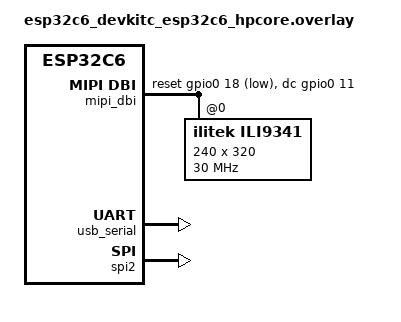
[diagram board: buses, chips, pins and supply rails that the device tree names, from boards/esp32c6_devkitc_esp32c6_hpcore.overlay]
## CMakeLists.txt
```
# Copyright (c) 2026 Yuancheng Li
# SPDX-License-Identifier: Apache-2.0

cmake_minimum_required(VERSION 3.20.0)

find_package(Zephyr REQUIRED HINTS $ENV{ZEPHYR_BASE})
project(esp32c6_boids_sim LANGUAGES C CXX)

target_sources(app PRIVATE
    src/main.cpp
    src/core/rendering/rendering.cpp
    src/features/boids/classes/flock.cpp
    src/features/boids/services/boids_renderer.cpp
    src/features/boids/store/render_snapshot_store.cpp
    src/features/scene/scene.cpp
    src/features/scene/bounds_outline.cpp
    src/features/rendering/rendering.cpp
    src/features/simulation/simulation.cpp
    src/features/profiling/profiling.cpp
)

target_include_directories(app PRIVATE
    src
    src/config
    libs/Jet/src
)

file(GLOB JET_SOURCES CONFIGURE_DEPENDS "libs/Jet/src/*.cpp")
list(FILTER JET_SOURCES EXCLUDE REGEX "/(Example|Sample)\\.cpp$")
target_sources(app PRIVATE ${JET_SOURCES})
```

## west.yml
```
# Copyright (c) 2026 Yuancheng Li
# SPDX-License-Identifier: Apache-2.0

manifest:
  remotes:
    - name: zephyrproject-rtos
      url-base: https://github.com/zephyrproject-rtos

  projects:
    - name: zephyr
      remote: zephyrproject-rtos
      revision: main
      import: true

  self:
    path: app
```

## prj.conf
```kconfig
# Copyright (c) 2026 Yuancheng Li
# SPDX-License-Identifier: Apache-2.0

CONFIG_CPP=y
CONFIG_STD_CPP20=y
CONFIG_GLIBCXX_LIBCPP=y
CONFIG_SPI=y
CONFIG_DISPLAY=y

CONFIG_CONSOLE=y
CONFIG_UART_CONSOLE=y
CONFIG_PRINTK=y
CONFIG_LOG=y
CONFIG_LOG_PRINTK=n
CONFIG_PRINTK_SYNC=y
CONFIG_DEBUG=y
CONFIG_DEBUG_THREAD_INFO=y

# Adjust heap and main stack size to accommodate Jet scene setup.
CONFIG_MAIN_STACK_SIZE=8192
CONFIG_HEAP_MEM_POOL_SIZE=32768
```

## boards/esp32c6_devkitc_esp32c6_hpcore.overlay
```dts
/*
 * Copyright (c) 2026 Yuancheng Li
 * SPDX-License-Identifier: Apache-2.0
 */

#include <zephyr/dt-bindings/display/panel.h>
#include <zephyr/dt-bindings/gpio/gpio.h>

/ {
	chosen {
		zephyr,console = &usb_serial;
		zephyr,shell-uart = &usb_serial;
		zephyr,display = &ili9341;
	};

	mipi_dbi {
		compatible = "zephyr,mipi-dbi-spi";
		spi-dev = <&spi2>;
		dc-gpios = <&gpio0 11 GPIO_ACTIVE_HIGH>;
		reset-gpios = <&gpio0 18 GPIO_ACTIVE_LOW>;
		write-only;
		#address-cells = <1>;
		#size-cells = <0>;

		ili9341: ili9341@0 {
			compatible = "ilitek,ili9341";
			reg = <0>;
			mipi-max-frequency = <30000000>;
			pixel-format = <PANEL_PIXEL_FORMAT_RGB_565>;
			width = <240>;
			height = <320>;
			rotation = <90>;
		};
	};
};

&usb_serial {
	status = "okay";
};

&i2c0 {
	status = "disabled";
};

&spi2 {
	status = "okay";
};

&gpio0 {
	status = "okay";
};
```

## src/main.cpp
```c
/*
 * Copyright (c) 2026 Yuancheng Li
 * SPDX-License-Identifier: Apache-2.0
 */

#include "constants/constants.hpp"
#include "features/boids/classes/flock.hpp"
#include "features/boids/services/boids_renderer.hpp"
#include "features/boids/store/render_snapshot_store.hpp"
#include "features/rendering/rendering.hpp"
#include "features/simulation/simulation.hpp"
#include "features/scene/bounds_outline.hpp"
#include "features/scene/scene.hpp"
#include "features/profiling/profiling.hpp"

#include <zephyr/kernel.h>

int main()
{
	printk("ESP32-C6 Boids Sim initialized on %s\n", CONFIG_BOARD_TARGET);

	if (!scene::init())
	{
		printk("Rendering initialization failed\n");
		return 1;
	}

	boids::FlockConfig flock_config;
	flock_config.boid_count = constants::boids::kSpawnedBoids;

	boids::renderer::init(scene::jetScene());
	scene::bounds_outline::init({
		flock_config.bounds_min.x,
		flock_config.bounds_min.y,
		flock_config.bounds_min.z,
		flock_config.bounds_max.x,
		flock_config.bounds_max.y,
		flock_config.bounds_max.z,
	});

	boids::initRenderSnapshots();
	profiling::init();

	simulation::init();
	rendering::init();

	k_sleep(K_FOREVER);
	return 0;
}
```
